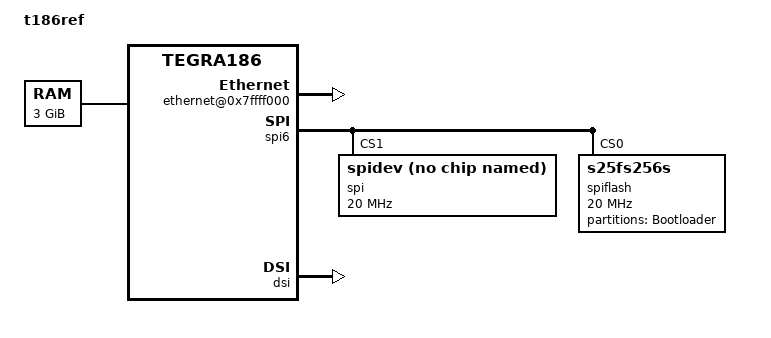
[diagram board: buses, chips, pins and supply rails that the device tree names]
/*
 * arch/arm64/boot/dts/tegra186-sim-private.dts
 *
 * Copyright (c) 2014-2016, NVIDIA CORPORATION.  All rights reserved.
 *
 * This program is free software; you can redistribute it and/or modify
 * it under the terms of the GNU General Public License as published by
 * the Free Software Foundation; version 2 of the License.
 *
 * This program is distributed in the hope that it will be useful, but WITHOUT
 * ANY WARRANTY; without even the implied warranty of MERCHANTABILITY or
 * FITNESS FOR A PARTICULAR PURPOSE.  See the GNU General Public License for
 * more details.
 *
 * You should have received a copy of the GNU General Public License along
 * with this program; if not, write to the Free Software Foundation, Inc.,
 * 51 Franklin Street, Fifth Floor, Boston, MA  02110-1301, USA.
 *
 */

/dts-v1/;

/memreserve/ 0x80000000 0x00010000;

#include "tegra186-soc/tegra186-soc-sim-fpga.dtsi"
#include "tegra186-soc/tegra186-cpus-2D4A.dtsi"
#include "panel-sim.dtsi"
#include "tegra186-sim-hdmi.dtsi"
#include "tegra186-platforms/tegra186-sunstreaker-eqos.dtsi"
#include <dt-bindings/sound/tegra-asoc-alt.h>

/ {
	model = "t186ref";
	compatible = "nvidia,tegra186";

	reserved-memory {
		vpr: vpr-carveout {
			status = "disabled";
		};
	};

	chosen {
		bootargs ="mem=1024M@2048M console=ttyS0,115200 earlyprintk=uart8250-32bit,0x03100000";
		stdout-path = &uarta;
	};

	/* chosen */

	firmware {
		android {
			compatible = "android,firmware";
			hardware = "t186ref";
		};
	};

	memory@80000000 {
		device_type = "memory";
		reg = < 0x0 0x80000000 0x0 0xc0000000 >;
	};

	clock@5000000 {
		status = "disabled";
	};

	ethernet@0x7ffff000 {
		compatible = "smsc,lan9115";
		reg = <0x0 0x03b40000 0x0 0x00000100>;
		interrupts = <0 218 0x4>;
		reg-io-width = <4>;
		smsc,irq-active-high;
		smsc,irq-push-pull;
	};

	asim {
		compatible = "nvidia,tegra210-asim";
		reg = < 0x0 0x03b41000 0x0 0x00001000 >;
	};

	adma@2930000 {
		dma-channels = <10>;
		status = "disabled";
	};

        adsp_audio {
                compr-ops = <1>;
                num-plugin = <4>;
                plugin-info-1 {
                        plugin-name = "mp3-dec1";
                        firmware-name = "nvmp3dec.elf";
                        widget-name = "MP3-DEC1";
                };
                plugin-info-2 {
                        plugin-name = "spkprot";
                        firmware-name = "nvspkprot.elf";
                        widget-name = "SPKPROT-SW";
                };
                plugin-info-3 {
                        plugin-name = "src";
                        firmware-name = "nvsrc.elf";
                        widget-name = "SRC";
                };
                plugin-info-4 {
                        plugin-name = "aac-dec1";
                        firmware-name = "nvaacdec.elf";
                        widget-name = "AAC-DEC1";
                };
        };

	ahub {
		i2s@02901000 {
			fsync-width = <31>;
		};

		i2s@02901100 {
			fsync-width = <31>;
		};

		i2s@02901200 {
			fsync-width = <31>;
		};

		i2s@02901300 {
			fsync-width = <31>;
		};

		i2s@02901400 {
			fsync-width = <31>;
		};

		i2s@02901500 {
			fsync-width = <31>;
		};
	};

	sound_ref {
		compatible = "nvidia,tegra-audio-t186ref";
		nvidia,model = "tegra-snd-t186ref";
		nvidia,num-codec-link = <5>;
		nvidia,num-amx = <1>;
		nvidia,num-adx = <1>;
		nvidia,amx-slot-size = <32 32>;
		nvidia,adx-slot-size = <32 32>;
		nvidia,addr-max9485 = <0>;
		nvidia,amx-slot-map = <
			/* jack 0 */
			TDM_SLOT_MAP(0, 0, 0)
			TDM_SLOT_MAP(0, 0, 0)
			TDM_SLOT_MAP(0, 1, 0)
			TDM_SLOT_MAP(0, 1, 1)
			TDM_SLOT_MAP(0, 0, 0)
			TDM_SLOT_MAP(0, 0, 0)
			TDM_SLOT_MAP(0, 2, 0)
			TDM_SLOT_MAP(0, 2, 1)
			/* jack 1 */
			TDM_SLOT_MAP(0, 0, 0)
			TDM_SLOT_MAP(0, 0, 0)
			TDM_SLOT_MAP(1, 1, 0)
			TDM_SLOT_MAP(1, 1, 1)
			TDM_SLOT_MAP(0, 0, 0)
			TDM_SLOT_MAP(0, 0, 0)
			TDM_SLOT_MAP(1, 2, 0)
			TDM_SLOT_MAP(1, 2, 1)
			/* jack 2 */
			TDM_SLOT_MAP(0, 0, 0)
			TDM_SLOT_MAP(0, 0, 0)
			TDM_SLOT_MAP(2, 1, 0)
			TDM_SLOT_MAP(2, 1, 1)
			TDM_SLOT_MAP(0, 0, 0)
			TDM_SLOT_MAP(0, 0, 0)
			TDM_SLOT_MAP(2, 2, 0)
			TDM_SLOT_MAP(2, 2, 1)
			/* jack 3 */
			TDM_SLOT_MAP(0, 0, 0)
			TDM_SLOT_MAP(0, 0, 0)
			TDM_SLOT_MAP(3, 1, 0)
			TDM_SLOT_MAP(3, 1, 1)
			TDM_SLOT_MAP(0, 0, 0)
			TDM_SLOT_MAP(0, 0, 0)
			TDM_SLOT_MAP(3, 2, 0)
			TDM_SLOT_MAP(3, 2, 1)>;
		nvidia,adx-slot-map = <
			/* jack 0 */
			TDM_SLOT_MAP(0, 0, 0)
			TDM_SLOT_MAP(0, 0, 0)
			TDM_SLOT_MAP(0, 1, 0)
			TDM_SLOT_MAP(0, 1, 1)
			TDM_SLOT_MAP(0, 0, 0)
			TDM_SLOT_MAP(0, 0, 0)
			TDM_SLOT_MAP(0, 2, 0)
			TDM_SLOT_MAP(0, 2, 1)
			/* jack 1 */
			TDM_SLOT_MAP(0, 0, 0)
			TDM_SLOT_MAP(0, 0, 0)
			TDM_SLOT_MAP(1, 1, 0)
			TDM_SLOT_MAP(1, 1, 1)
			TDM_SLOT_MAP(0, 0, 0)
			TDM_SLOT_MAP(0, 0, 0)
			TDM_SLOT_MAP(1, 2, 0)
			TDM_SLOT_MAP(1, 2, 1)
			/* jack 2 */
			TDM_SLOT_MAP(0, 0, 0)
			TDM_SLOT_MAP(0, 0, 0)
			TDM_SLOT_MAP(2, 1, 0)
			TDM_SLOT_MAP(2, 1, 1)
			TDM_SLOT_MAP(0, 0, 0)
			TDM_SLOT_MAP(0, 0, 0)
			TDM_SLOT_MAP(2, 2, 0)
			TDM_SLOT_MAP(2, 2, 1)
			/* jack 3 */
			TDM_SLOT_MAP(0, 0, 0)
			TDM_SLOT_MAP(0, 0, 0)
			TDM_SLOT_MAP(3, 1, 0)
			TDM_SLOT_MAP(3, 1, 1)
			TDM_SLOT_MAP(0, 0, 0)
			TDM_SLOT_MAP(0, 0, 0)
			TDM_SLOT_MAP(3, 2, 0)
			TDM_SLOT_MAP(3, 2, 1)>;

        nvidia,audio-routing =
                "Headphone-x",  "x OUT",
                "x IN", "LineIn-x";

        nvidia,xbar = <&tegra_axbar>;

		nvidia,dai-link-1 {
			link-name = "spdif-dit-0";
			cpu-dai = <&tegra_i2s3>;
			codec-dai = <&spdif_dit0>;
			cpu-dai-name = "I2S3";
			codec-dai-name = "dit-hifi";
			tx-mask = <0xFF>;
			rx-mask = <0xFF>;
			format = "dsp_a";
			bitclock-slave;
			frame-slave;
			bitclock-noninversion;
			frame-noninversion;
			bit-format = "s32_le";
			bclk_ratio = <1>;
			srate = <48000>;
			num-channel = <8>;
			name-prefix = "x";
		};
		nvidia,dai-link-2 {
			link-name = "spdif-dit-1";
			cpu-dai = <&tegra_i2s5>;
			codec-dai = <&spdif_dit0>;
			cpu-dai-name = "I2S5";
			codec-dai-name = "dit-hifi";
			tx-mask = <0xFF>;
			rx-mask = <0xFF>;
			format = "i2s";
			bitclock-slave;
			frame-slave;
			bitclock-noninversion;
			frame-noninversion;
			bit-format = "s16_le";
			bclk_ratio = <2>;
			srate = <48000>;
			num-channel = <2>;
			name-prefix = "x";
		};
		nvidia,dai-link-3 {
			link-name = "spdif-dit-2";
			cpu-dai = <&tegra_i2s1>;
			codec-dai = <&spdif_dit0>;
			cpu-dai-name = "I2S1";
			codec-dai-name = "dit-hifi";
			tx-mask = <0xFF>;
			rx-mask = <0xFF>;
			format = "i2s";
			bitclock-slave;
			frame-slave;
			bitclock-noninversion;
			frame-noninversion;
			bit-format = "s16_le";
			bclk_ratio = <2>;
			srate = <8000>;
			num-channel = <2>;
			name-prefix = "x";
		};
		nvidia,dai-link-4 {
			link-name = "spdif-dit-3";
			cpu-dai = <&tegra_dmic1>;
			codec-dai = <&spdif_dit0>;
			cpu-dai-name = "DMIC1";
			codec-dai-name = "dit-hifi";
			format = "i2s";
			bit-format = "s16_le";
			srate = <48000>;
			num-channel = <2>;
			name-prefix = "dmic-x";
		};
		nvidia,dai-link-5 {
			link-name = "spdif-dit-4";
			cpu-dai = <&tegra_dspk1>;
			codec-dai = <&spdif_dit0>;
			cpu-dai-name = "DSPK1";
			codec-dai-name = "dit-hifi";
			format = "i2s";
			bit-format = "s16_le";
			srate = <48000>;
			num-channel = <2>;
			name-prefix = "dspk-x";
		};

	};

	spi6: spi@3270000{
		status = "okay";
		spi@0 {
			compatible = "spidev";
			reg = <1>;
			spi-max-frequency = <20000000>;

			controller-data {
				nvidia,x1-len-limit = <16>;
				nvidia,x1-bus-speed = <20000000>; /* In Mhz */
				nvidia,x1-dymmy-cycle = <0>;
				nvidia,x4-bus-speed = <20000000>;
				nvidia,x4-dymmy-cycle = <8>;
				nvidia,ifddr-div2-sdr = <1>;
				nvidia,x4-is-ddr=<1>;
			};

		};
		spiflash@1 {
			#address-cells = <1>;
			#size-cells = <1>;
			compatible = "s25fs256s";
			reg = <0>;
			spi-max-frequency = <20000000>;
			partition@0 {
				label = "Bootloader";
				reg = <0x00000000 0x2000000>;
			};
			controller-data {
				nvidia,x1-len-limit = <16>;
				nvidia,x1-bus-speed = <20000000>; /* In Mhz */
				nvidia,x1-dymmy-cycle = <8>;
				nvidia,x4-bus-speed = <20000000>;
				nvidia,x4-dymmy-cycle = <8>;
				nvidia,ifddr-div2-sdr = <1>;
				nvidia,x4-is-ddr=<1>;
			};
		};

	};

	mipical {
		status = "okay";
	};

	host1x {
		nvdisplay@15200000 {
			status = "okay";
			nvidia,fb-bpp = <32>; /* bits per pixel */
			nvidia,dc-flags = <TEGRA_DC_FLAG_ENABLED>;
			nvidia,fb-win = <0>;
			nvidia,dc-ctrlnum = <0>;
			nvidia,dc-or-node = "/host1x/dsi";
		};

		nvdisplay@15210000 {
			status = "disabled";
			nvidia,fb-bpp = <32>; /* bits per pixel */
			nvidia,dc-flags = <TEGRA_DC_FLAG_ENABLED>;
			nvidia,fb-win = <3>;
			nvidia,dc-ctrlnum = <1>;
			nvidia,dc-or-node = "/host1x/sor1";
		};

		nvdisplay@15220000 {
			status = "disabled";
			nvidia,fb-bpp = <32>; /* bits per pixel */
			nvidia,dc-flags = <TEGRA_DC_FLAG_ENABLED>;
			nvidia,fb-win = <3>;
			nvidia,dc-ctrlnum = <2>;
		};

		dsi { /* dsi@15300000 */
			status = "okay";
			panel-s-wuxga-8-0 {
				status = "okay";
			};
		};

		sor {
			status = "disabled";
		};

		sor1 {
			status = "disabled";
		};

		dpaux@155c0000 {
			status = "disabled";
		};

		dpaux@15040000 {
			status = "disabled";
		};
	};
};
